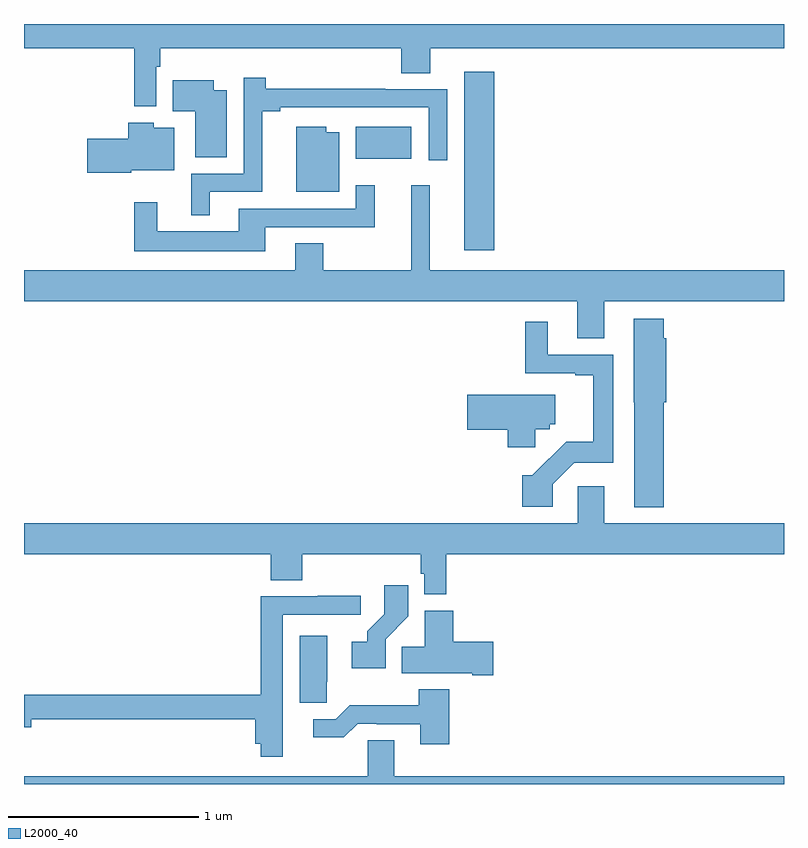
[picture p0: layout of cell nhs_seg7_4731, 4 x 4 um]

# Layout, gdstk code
import gdstk
lib = gdstk.Library(unit=1e-6, precision=1e-09)
def R(c, l, rs):  # rectangles x0, y0, x1, y1
    for r in rs: c.add(gdstk.rectangle(r[:2], r[2:], *l))
def P(c, l, *ps):  # polygons
    for p in ps: c.add(gdstk.Polygon(p, *l))
L2000_40 = (2000, 40)

nhs_seg7_4731 = lib.new_cell('nhs_seg7_4731')
R(nhs_seg7_4731, L2000_40, [(409.316,1076.808,409.475,1077.748), (408.746,1077.29,409.039,1077.46)])
P(nhs_seg7_4731, L2000_40, [(407.697,1077.776),(407.717,1077.776),(407.717,1077.872),(408.986,1077.872),(408.986,1077.742),(409.138,1077.742),(409.138,1077.872),(411,1077.872),(411,1078),(407,1078),(407,1077.872),(407.581,1077.872),(407.581,1077.566),(407.697,1077.566)],
  [(407.977,1077.117),(408.254,1077.117),(408.254,1077.541),(408.349,1077.541),(408.349,1077.561),(409.131,1077.561),(409.131,1077.282),(409.227,1077.282),(409.227,1077.657),(408.902,1077.657),(408.902,1077.659),(408.272,1077.659),(408.272,1077.718),(408.156,1077.718),(408.156,1077.213),(407.879,1077.213),(407.879,1076.993),(407.977,1076.993)],
  [(408.067,1077.652),(407.998,1077.652),(407.998,1077.703),(407.782,1077.703),(407.782,1077.542),(407.9,1077.542),(407.9,1077.298),(408.067,1077.298)],
  [(407.565,1077.23),(407.791,1077.23),(407.791,1077.454),(407.682,1077.454),(407.682,1077.481),(407.549,1077.481),(407.549,1077.396),(407.334,1077.396),(407.334,1077.218),(407.565,1077.218)],
  [(408.658,1077.43),(408.592,1077.43),(408.592,1077.46),(408.434,1077.46),(408.434,1077.116),(408.658,1077.116)],
  [(410.053,1076.54),(411,1076.54),(411,1076.704),(409.136,1076.704),(409.136,1077.151),(409.037,1077.151),(409.037,1076.704),(408.576,1076.704),(408.576,1076.846),(408.428,1076.846),(408.428,1076.704),(407,1076.704),(407,1076.54),(409.913,1076.54),(409.913,1076.346),(410.053,1076.346)],
  [(408.271,1076.931),(408.845,1076.931),(408.845,1077.151),(408.747,1077.151),(408.747,1077.027),(408.131,1077.027),(408.131,1076.908),(407.701,1076.908),(407.701,1077.061),(407.58,1077.061),(407.58,1076.804),(408.271,1076.804)],
  [(410.366,1076.01),(410.381,1076.01),(410.381,1076.346),(410.366,1076.346),(410.366,1076.449),(410.21,1076.449),(410.21,1076.01),(410.213,1076.01),(410.213,1075.457),(410.366,1075.457)],
  [(409.782,1075.578),(409.896,1075.692),(410.101,1075.692),(410.101,1076.259),(409.756,1076.259),(409.756,1076.434),(409.639,1076.434),(409.639,1076.163),(409.901,1076.163),(409.901,1076.151),(409.997,1076.151),(409.997,1075.802),(409.853,1075.802),(409.675,1075.624),(409.622,1075.624),(409.622,1075.458),(409.782,1075.458)],
  [(409.692,1075.866),(409.767,1075.866),(409.767,1075.893),(409.795,1075.893),(409.795,1076.05),(409.563,1076.05),(409.563,1076.048),(409.332,1076.048),(409.332,1075.865),(409.547,1075.865),(409.547,1075.772),(409.692,1075.772)],
  [(409.223,1075.208),(411,1075.208),(411,1075.372),(410.053,1075.372),(410.053,1075.567),(409.914,1075.567),(409.914,1075.372),(407,1075.372),(407,1075.208),(408.299,1075.208),(408.299,1075.072),(408.464,1075.072),(408.464,1075.208),(409.087,1075.208),(409.087,1075.107),(409.107,1075.107),(409.107,1074.998),(409.223,1074.998)],
  [(408.903,1074.763),(409.022,1074.882),(409.022,1075.045),(408.897,1075.045),(408.897,1074.893),(408.806,1074.803),(408.806,1074.748),(408.726,1074.748),(408.726,1074.608),(408.903,1074.608)],
  [(408.363,1074.891),(408.772,1074.891),(408.772,1074.99),(408.547,1074.99),(408.547,1074.987),(408.247,1074.987),(408.247,1074.47),(407,1074.47),(407,1074.299),(407.038,1074.299),(407.038,1074.342),(408.218,1074.342),(408.218,1074.212),(408.247,1074.212),(408.247,1074.144),(408.363,1074.144)],
  [(409.471,1074.75),(409.259,1074.75),(409.259,1074.913),(409.109,1074.913),(409.109,1074.722),(408.988,1074.722),(408.988,1074.584),(409.358,1074.584),(409.358,1074.572),(409.471,1074.572)],
  [(408.594,1074.538),(408.595,1074.538),(408.595,1074.781),(408.452,1074.781),(408.452,1074.427),(408.594,1074.427)],
  [(409.238,1074.499),(409.078,1074.499),(409.078,1074.415),(408.715,1074.415),(408.642,1074.342),(408.522,1074.342),(408.522,1074.245),(408.683,1074.245),(408.756,1074.318),(408.856,1074.318),(408.856,1074.315),(409.085,1074.315),(409.085,1074.21),(409.238,1074.21)],
  [(411,1074.04),(408.949,1074.04),(408.949,1074.23),(408.81,1074.23),(408.81,1074.04),(407,1074.04),(407,1074),(411,1074)])

lib.write_gds('nhs_seg7_4731.gds')
